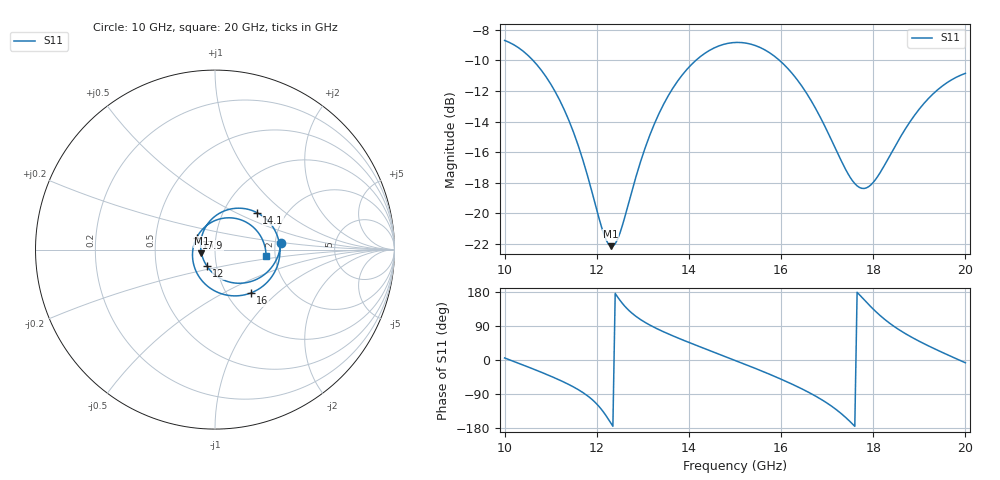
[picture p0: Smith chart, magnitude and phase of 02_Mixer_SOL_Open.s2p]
! Synthetic calibration acquisition fixture: NOT a frequency-converting S2P model.
! RF=10..20 GHz; LO=5 GHz; IF=RF-LO. 201 points, 50 MHz step.
! Only S11 is meaningful. S21=S12=S22=0 are unused matched/isolated placeholders.
! Use ideal Open(+1), Short(-1), Load(0), zero offsets, Z0=50 ohm.
! Order: frequency_Hz S11_Re S11_Im S21_Re S21_Im S12_Re S12_Im S22_Re S22_Im
# Hz S RI R 50
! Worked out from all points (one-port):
!   201 points, 10 GHz to 20 GHz, reference 50 ohm
!   lowest |S11| = -22.2 dB at 12.3 GHz (marker M1), VSWR 1.17, Z = 43 - j1.71 ohm
!   |S11| at or under -10 dB: 10.62 GHz to 14.15 GHz (3.532 GHz wide, 28.5 % of centre); 15.97 GHz to end of sweep
!   S11 on the Smith chart (normalised r, x): 10 GHz: 2.14, +0.17; 12 GHz: 0.90, -0.17; 14.1 GHz: 1.43, +0.65; 16 GHz: 1.29, -0.69; 17.9 GHz: 0.81, +0.11; 20 GHz: 1.79, -0.14
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1e10  0.366 0.0348  0 0  0 0  0 0
1.04e10  0.3303 -0.0775  0 0  0 0  0 0
1.09e10  0.2217 -0.1702  0 0  0 0  0 0
1.13e10  0.1116 -0.1863  0 0  0 0  0 0
1.17e10  0.0104 -0.1488  0 0  0 0  0 0
1.2e10  -0.0452 -0.092  0 0  0 0  0 0
1.23e10  -0.0754 -0.0198  0 0  0 0  0 0
1.25e10  -0.0797 0.0319  0 0  0 0  0 0
1.3e10  -0.0346 0.1516  0 0  0 0  0 0
1.335e10  0.0365 0.2087  0 0  0 0  0 0
1.41e10  0.233 0.2065  0 0  0 0  0 0
1.46e10  0.3333 0.108  0 0  0 0  0 0
1.5e10  0.362 -0.00561  0 0  0 0  0 0
1.545e10  0.3262 -0.1358  0 0  0 0  0 0
1.6e10  0.1984 -0.2421  0 0  0 0  0 0
1.67e10  -0.00776 -0.2268  0 0  0 0  0 0
1.73e10  -0.1157 -0.094  0 0  0 0  0 0
1.765e10  -0.1229 0.00286  0 0  0 0  0 0
1.79e10  -0.1019 0.0673  0 0  0 0  0 0
1.835e10  -0.0201 0.1519  0 0  0 0  0 0
1.91e10  0.1668 0.1563  0 0  0 0  0 0
2e10  0.2845 -0.0367  0 0  0 0  0 0
